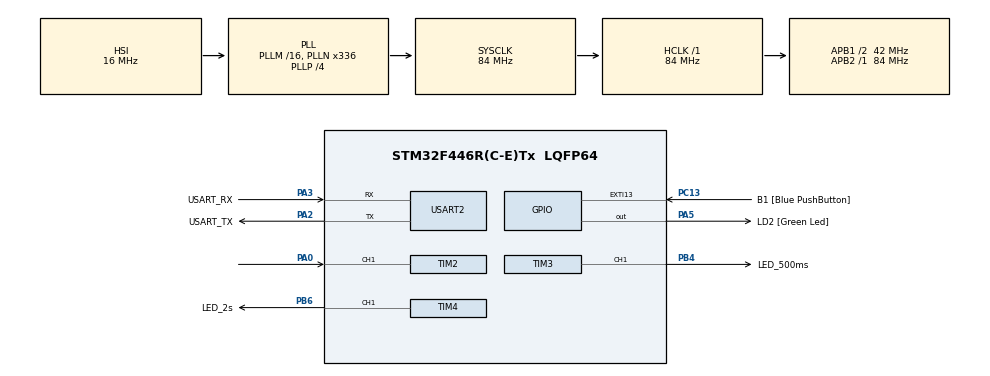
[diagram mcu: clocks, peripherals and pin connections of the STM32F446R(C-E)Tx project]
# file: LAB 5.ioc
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Mcu.Family=STM32F4
Mcu.Name=STM32F446R(C-E)Tx
Mcu.Package=LQFP64
NVIC.PriorityGroup=NVIC_PRIORITYGROUP_0
NVIC.TIM2_IRQn=true\:0\:0\:false\:false\:true\:true\:true\:true
PA0-WKUP.Signal=S_TIM2_CH1_ETR
PA13.GPIO_Label=TMS
PA13.Mode=Serial_Wire
PA13.Signal=SYS_JTMS-SWDIO
PA14.GPIO_Label=TCK
PA14.Mode=Serial_Wire
PA14.Signal=SYS_JTCK-SWCLK
PA2.GPIO_Label=USART_TX
PA2.Mode=Asynchronous
PA2.Signal=USART2_TX
PA3.GPIO_Label=USART_RX
PA3.Mode=Asynchronous
PA3.Signal=USART2_RX
PA5.GPIO_Label=LD2 [Green Led]
PA5.Signal=GPIO_Output
PB3.GPIO_Label=SWO
PB3.Signal=SYS_JTDO-SWO
PB4.GPIO_Label=LED_500ms
PB4.Signal=S_TIM3_CH1
PB6.GPIO_Label=LED_2s
PB6.Signal=S_TIM4_CH1
PC13.GPIO_Label=B1 [Blue PushButton]
PC13.GPIO_ModeDefaultEXTI=GPIO_MODE_IT_FALLING
PC13.Signal=GPXTI13
PC14-OSC32_IN.Signal=RCC_OSC32_IN
PC15-OSC32_OUT.Signal=RCC_OSC32_OUT
PH0-OSC_IN.Signal=RCC_OSC_IN
PH1-OSC_OUT.Signal=RCC_OSC_OUT
ProjectManager.HeapSize=0x200
ProjectManager.StackSize=0x400
ProjectManager.TargetToolchain=STM32CubeIDE
RCC.AHBFreq_Value=84000000
RCC.APB1CLKDivider=RCC_HCLK_DIV2
RCC.APB1Freq_Value=42000000
RCC.APB1TimFreq_Value=84000000
RCC.APB2Freq_Value=84000000
RCC.APB2TimFreq_Value=84000000
RCC.CortexFreq_Value=84000000
RCC.FLatency-AdvancedSettings=FLASH_LATENCY_2
RCC.HCLKFreq_Value=84000000
RCC.HSE_VALUE=8000000
RCC.HSI_VALUE=16000000
RCC.LSE_VALUE=32768
RCC.PLLN=336
RCC.PLLP=RCC_PLLP_DIV4
RCC.SYSCLKFreq_VALUE=84000000
RCC.SYSCLKSource=RCC_SYSCLKSOURCE_PLLCLK
RCC.USBFreq_Value=168000000
RCC.VCOOutputFreq_Value=336000000
SH.S_TIM2_CH1_ETR.0=TIM2_CH1,Input_Capture1_from_TI1
SH.S_TIM3_CH1.0=TIM3_CH1,PWM Generation1 CH1
SH.S_TIM4_CH1.0=TIM4_CH1,PWM Generation1 CH1
TIM2.Channel-Input_Capture1_from_TI1=TIM_CHANNEL_1
TIM2.Prescaler=83
TIM3.Channel-PWM\ Generation1\ CH1=TIM_CHANNEL_1
TIM3.Period=4999
TIM3.Prescaler=8399
TIM3.Pulse-PWM\ Generation1\ CH1=2500
TIM4.Channel-PWM\ Generation1\ CH1=TIM_CHANNEL_1
TIM4.Period=19999
TIM4.Prescaler=8399
USART2.VirtualMode=VM_ASYNC
VP_TIM2_VS_ClockSourceINT.Mode=Internal
VP_TIM3_VS_ClockSourceINT.Mode=Internal
VP_TIM4_VS_ClockSourceINT.Mode=Internal
board=NUCLEO-F446RE

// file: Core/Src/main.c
/* USER CODE BEGIN Header */
/**
  ******************************************************************************
  * @file           : main.c
  * @brief          : Main program body
  ******************************************************************************
  * @attention
  *
  * Copyright (c) 2026 STMicroelectronics.
  * All rights reserved.
  *
  * This software is licensed under terms that can be found in the LICENSE file
  * in the root directory of this software component.
  * If no LICENSE file comes with this software, it is provided AS-IS.
  *
  ******************************************************************************
  */
/* USER CODE END Header */

#include "main.h"

/* USER CODE BEGIN Includes */
#include <stdio.h>
/* USER CODE END Includes */

/* USER CODE BEGIN PD */
//Contador de frecuencia
#define Contador_f 1000000UL

//Tiempo para mandar otro dato
#define UART_ms 500UL

//Tiempo para que se reinicie
#define Timeout_ms 1500UL
/* USER CODE END PD */

TIM_HandleTypeDef htim2;
TIM_HandleTypeDef htim3;
TIM_HandleTypeDef htim4;

UART_HandleTypeDef huart2;

/* USER CODE BEGIN PV */
//ant = anterior
volatile uint32_t captura_ant = 0;

volatile uint32_t periodo = 0;

//UF = ultimo flanco
volatile uint32_t tiempo_UF = 0;

//Primera captura
volatile uint8_t captura_uno = 1;

//disp = disponible
volatile uint8_t frecuencia_disp = 0;

//UE = ultimo envio
uint32_t tiempo_UE = 0;

char mensaje_uart[64];
/* USER CODE END PV */

void SystemClock_Config(void);
static void MX_GPIO_Init(void);
static void MX_TIM2_Init(void);
static void MX_USART2_UART_Init(void);
static void MX_TIM3_Init(void);
static void MX_TIM4_Init(void);
void HAL_TIM_MspPostInit(TIM_HandleTypeDef *htim);

/* USER CODE BEGIN PFP */
static void Frecuencia_UART(void);
/* USER CODE END PFP */

int main(void)
{

  /* MCU Configuration--------------------------------------------------------*/

  /* Reset of all peripherals, Initializes the Flash interface and the Systick. */
  HAL_Init();

  /* Configure the system clock */
  SystemClock_Config();

  /* Initialize all configured peripherals */
  MX_GPIO_Init();
  MX_TIM2_Init();
  MX_USART2_UART_Init();
  MX_TIM3_Init();
  MX_TIM4_Init();

  /* USER CODE BEGIN 2 */
  //Captura de frecuencia TIM2
  if (HAL_TIM_IC_Start_IT(&htim2, TIM_CHANNEL_1) != HAL_OK)
  {
    Error_Handler();
  }

  //Señal de 500ms TIM3
  if (HAL_TIM_PWM_Start(&htim3, TIM_CHANNEL_1) != HAL_OK)
  {
    Error_Handler();
  }

  //Señal de 2s TIM4
  if (HAL_TIM_PWM_Start(&htim4, TIM_CHANNEL_1) != HAL_OK)
  {
    Error_Handler();
  }

  //Enviar el mensaje inicial por UART
  HAL_UART_Transmit(&huart2,
                    (uint8_t *)"Iniciado\r\n",
                    sizeof("Iniciado\r\n") - 1U,
                    HAL_MAX_DELAY);
  /* USER CODE END 2 */

  /* Infinite loop */
  while (1)
  {

    /* USER CODE BEGIN 3 */
    //Mandar la frecuencia medida cada 500 milisegundos
    if ((HAL_GetTick() - tiempo_UE) >= UART_ms)
    {
      tiempo_UE = HAL_GetTick();
      Frecuencia_UART();
    }
  }
  /* USER CODE END 3 */
}

void SystemClock_Config(void)
{
  RCC_OscInitTypeDef RCC_OscInitStruct = {0};
  RCC_ClkInitTypeDef RCC_ClkInitStruct = {0};

  /** Configure the main internal regulator output voltage
  */
  __HAL_RCC_PWR_CLK_ENABLE();
  __HAL_PWR_VOLTAGESCALING_CONFIG(PWR_REGULATOR_VOLTAGE_SCALE3);

  /** Initializes the RCC Oscillators according to the specified parameters
  * in the RCC_OscInitTypeDef structure.
  */
  RCC_OscInitStruct.OscillatorType = RCC_OSCILLATORTYPE_HSI;
  RCC_OscInitStruct.HSIState = RCC_HSI_ON;
  RCC_OscInitStruct.HSICalibrationValue = RCC_HSICALIBRATION_DEFAULT;
  RCC_OscInitStruct.PLL.PLLState = RCC_PLL_ON;
  RCC_OscInitStruct.PLL.PLLSource = RCC_PLLSOURCE_HSI;
  RCC_OscInitStruct.PLL.PLLM = 16;
  RCC_OscInitStruct.PLL.PLLN = 336;
  RCC_OscInitStruct.PLL.PLLP = RCC_PLLP_DIV4;
  RCC_OscInitStruct.PLL.PLLQ = 2;
  RCC_OscInitStruct.PLL.PLLR = 2;

  if (HAL_RCC_OscConfig(&RCC_OscInitStruct) != HAL_OK)
  {
    Error_Handler();
  }

  /** Initializes the CPU, AHB and APB buses clocks
  */
  RCC_ClkInitStruct.ClockType = RCC_CLOCKTYPE_HCLK |
                                RCC_CLOCKTYPE_SYSCLK |
                                RCC_CLOCKTYPE_PCLK1 |
                                RCC_CLOCKTYPE_PCLK2;
  RCC_ClkInitStruct.SYSCLKSource = RCC_SYSCLKSOURCE_PLLCLK;
  RCC_ClkInitStruct.AHBCLKDivider = RCC_SYSCLK_DIV1;
  RCC_ClkInitStruct.APB1CLKDivider = RCC_HCLK_DIV2;
  RCC_ClkInitStruct.APB2CLKDivider = RCC_HCLK_DIV1;

  if (HAL_RCC_ClockConfig(&RCC_ClkInitStruct, FLASH_LATENCY_2) != HAL_OK)
  {
    Error_Handler();
  }
}

static void MX_TIM2_Init(void)
{

  TIM_ClockConfigTypeDef sClockSourceConfig = {0};
  TIM_MasterConfigTypeDef sMasterConfig = {0};
  TIM_IC_InitTypeDef sConfigIC = {0};

  htim2.Instance = TIM2;
  htim2.Init.Prescaler = 83;
  htim2.Init.CounterMode = TIM_COUNTERMODE_UP;
  htim2.Init.Period = 4294967295;
  htim2.Init.ClockDivision = TIM_CLOCKDIVISION_DIV1;
  htim2.Init.AutoReloadPreload = TIM_AUTORELOAD_PRELOAD_DISABLE;

  if (HAL_TIM_Base_Init(&htim2) != HAL_OK)
  {
    Error_Handler();
  }

  sClockSourceConfig.ClockSource = TIM_CLOCKSOURCE_INTERNAL;

  if (HAL_TIM_ConfigClockSource(&htim2, &sClockSourceConfig) != HAL_OK)
  {
    Error_Handler();
  }

  if (HAL_TIM_IC_Init(&htim2) != HAL_OK)
  {
    Error_Handler();
  }

  sMasterConfig.MasterOutputTrigger = TIM_TRGO_RESET;
  sMasterConfig.MasterSlaveMode = TIM_MASTERSLAVEMODE_DISABLE;

  if (HAL_TIMEx_MasterConfigSynchronization(&htim2, &sMasterConfig) != HAL_OK)
  {
    Error_Handler();
  }

  sConfigIC.ICPolarity = TIM_INPUTCHANNELPOLARITY_RISING;
  sConfigIC.ICSelection = TIM_ICSELECTION_DIRECTTI;
  sConfigIC.ICPrescaler = TIM_ICPSC_DIV1;
  sConfigIC.ICFilter = 0;

  if (HAL_TIM_IC_ConfigChannel(&htim2, &sConfigIC, TIM_CHANNEL_1) != HAL_OK)
  {
    Error_Handler();
  }

}

static void MX_TIM3_Init(void)
{

  TIM_ClockConfigTypeDef sClockSourceConfig = {0};
  TIM_MasterConfigTypeDef sMasterConfig = {0};
  TIM_OC_InitTypeDef sConfigOC = {0};

  htim3.Instance = TIM3;
  htim3.Init.Prescaler = 8399;
  htim3.Init.CounterMode = TIM_COUNTERMODE_UP;
  htim3.Init.Period = 4999;
  htim3.Init.ClockDivision = TIM_CLOCKDIVISION_DIV1;
  htim3.Init.AutoReloadPreload = TIM_AUTORELOAD_PRELOAD_DISABLE;

  if (HAL_TIM_Base_Init(&htim3) != HAL_OK)
  {
    Error_Handler();
  }

  sClockSourceConfig.ClockSource = TIM_CLOCKSOURCE_INTERNAL;

  if (HAL_TIM_ConfigClockSource(&htim3, &sClockSourceConfig) != HAL_OK)
  {
    Error_Handler();
  }

  if (HAL_TIM_PWM_Init(&htim3) != HAL_OK)
  {
    Error_Handler();
  }

  sMasterConfig.MasterOutputTrigger = TIM_TRGO_RESET;
  sMasterConfig.MasterSlaveMode = TIM_MASTERSLAVEMODE_DISABLE;

  if (HAL_TIMEx_MasterConfigSynchronization(&htim3, &sMasterConfig) != HAL_OK)
  {
    Error_Handler();
  }

  sConfigOC.OCMode = TIM_OCMODE_PWM1;
  sConfigOC.Pulse = 2500;
  sConfigOC.OCPolarity = TIM_OCPOLARITY_HIGH;
  sConfigOC.OCFastMode = TIM_OCFAST_DISABLE;

  if (HAL_TIM_PWM_ConfigChannel(&htim3, &sConfigOC, TIM_CHANNEL_1) != HAL_OK)
  {
    Error_Handler();
  }

  HAL_TIM_MspPostInit(&htim3);
}

static void MX_TIM4_Init(void)
{

  TIM_ClockConfigTypeDef sClockSourceConfig = {0};
  TIM_MasterConfigTypeDef sMasterConfig = {0};
  TIM_OC_InitTypeDef sConfigOC = {0};

  htim4.Instance = TIM4;
  htim4.Init.Prescaler = 8399;
  htim4.Init.CounterMode = TIM_COUNTERMODE_UP;
  htim4.Init.Period = 19999;
  htim4.Init.ClockDivision = TIM_CLOCKDIVISION_DIV1;
  htim4.Init.AutoReloadPreload = TIM_AUTORELOAD_PRELOAD_DISABLE;

  if (HAL_TIM_Base_Init(&htim4) != HAL_OK)
  {
    Error_Handler();
  }

  sClockSourceConfig.ClockSource = TIM_CLOCKSOURCE_INTERNAL;

  if (HAL_TIM_ConfigClockSource(&htim4, &sClockSourceConfig) != HAL_OK)
  {
    Error_Handler();
  }

  if (HAL_TIM_PWM_Init(&htim4) != HAL_OK)
  {
    Error_Handler();
  }

  sMasterConfig.MasterOutputTrigger = TIM_TRGO_RESET;
  sMasterConfig.MasterSlaveMode = TIM_MASTERSLAVEMODE_DISABLE;

  if (HAL_TIMEx_MasterConfigSynchronization(&htim4, &sMasterConfig) != HAL_OK)
  {
    Error_Handler();
  }

  sConfigOC.OCMode = TIM_OCMODE_PWM1;
  sConfigOC.Pulse = 10000;
  sConfigOC.OCPolarity = TIM_OCPOLARITY_HIGH;
  sConfigOC.OCFastMode = TIM_OCFAST_DISABLE;

  if (HAL_TIM_PWM_ConfigChannel(&htim4, &sConfigOC, TIM_CHANNEL_1) != HAL_OK)
  {
    Error_Handler();
  }

  HAL_TIM_MspPostInit(&htim4);
}

static void MX_USART2_UART_Init(void)
{

  huart2.Instance = USART2;
  huart2.Init.BaudRate = 115200;
  huart2.Init.WordLength = UART_WORDLENGTH_8B;
  huart2.Init.StopBits = UART_STOPBITS_1;
  huart2.Init.Parity = UART_PARITY_NONE;
  huart2.Init.Mode = UART_MODE_TX_RX;
  huart2.Init.HwFlowCtl = UART_HWCONTROL_NONE;
  huart2.Init.OverSampling = UART_OVERSAMPLING_16;

  if (HAL_UART_Init(&huart2) != HAL_OK)
  {
    Error_Handler();
  }

}

static void MX_GPIO_Init(void)
{
  GPIO_InitTypeDef GPIO_InitStruct = {0};

  /* GPIO Ports Clock Enable */
  __HAL_RCC_GPIOC_CLK_ENABLE();
  __HAL_RCC_GPIOH_CLK_ENABLE();
  __HAL_RCC_GPIOA_CLK_ENABLE();
  __HAL_RCC_GPIOB_CLK_ENABLE();

  /*Configure GPIO pin Output Level */
  HAL_GPIO_WritePin(LD2_GPIO_Port, LD2_Pin, GPIO_PIN_RESET);

  /*Configure GPIO pin : B1_Pin */
  GPIO_InitStruct.Pin = B1_Pin;
  GPIO_InitStruct.Mode = GPIO_MODE_IT_FALLING;
  GPIO_InitStruct.Pull = GPIO_NOPULL;
  HAL_GPIO_Init(B1_GPIO_Port, &GPIO_InitStruct);

  /*Configure GPIO pin : LD2_Pin */
  GPIO_InitStruct.Pin = LD2_Pin;
  GPIO_InitStruct.Mode = GPIO_MODE_OUTPUT_PP;
  GPIO_InitStruct.Pull = GPIO_NOPULL;
  GPIO_InitStruct.Speed = GPIO_SPEED_FREQ_LOW;
  HAL_GPIO_Init(LD2_GPIO_Port, &GPIO_InitStruct);

}

/* USER CODE BEGIN 4 */
void HAL_TIM_IC_CaptureCallback(TIM_HandleTypeDef *htim)
{
  uint32_t captura_actual;
  uint32_t tiempo_actual;

  //Ver que la interrupción sea canal 1 TIM2
  if ((htim->Instance == TIM2) &&
      (htim->Channel == HAL_TIM_ACTIVE_CHANNEL_1))
  {
    captura_actual = HAL_TIM_ReadCapturedValue(htim, TIM_CHANNEL_1);
    tiempo_actual = HAL_GetTick();

    //Reiniciar si se pierde la señal
    if ((captura_uno != 0U) ||
        ((tiempo_actual - tiempo_UF) > Timeout_ms))
    {
      captura_ant = captura_actual;
      captura_uno = 0U;
      frecuencia_disp = 0U;
    }
    else
    {
      //Calcular el periodo
      periodo = captura_actual - captura_ant;
      captura_ant = captura_actual;

      //Ver que periodo no sea igual a 0
      if (periodo != 0U)
      {
        frecuencia_disp = 1U;
      }
    }

    tiempo_UF = tiempo_actual;
  }
}

static void Frecuencia_UART(void)
{
  uint32_t periodo_local;
  uint32_t tiempo_flanco_local;
  uint8_t frecuencia_valida_local;
  uint64_t frecuencia_centesimas;
  int longitud;

  //Copiar los valores despues de la interrupción
  periodo_local = periodo;
  tiempo_flanco_local = tiempo_UF;
  frecuencia_valida_local = frecuencia_disp;

  //Ver que haya alguna medición reciente
  if ((frecuencia_valida_local != 0U) &&
      (periodo_local != 0U) &&
      ((HAL_GetTick() - tiempo_flanco_local) <= Timeout_ms))
  {
    //Calcular la frecuencia
    frecuencia_centesimas =
        (((uint64_t)Contador_f * 100ULL) +
         ((uint64_t)periodo_local / 2ULL)) /
        (uint64_t)periodo_local;

    longitud = snprintf(
        mensaje_uart,
        sizeof(mensaje_uart),
        "Frecuencia: %lu.%02lu Hz\r\n",
        (unsigned long)(frecuencia_centesimas / 100ULL),
        (unsigned long)(frecuencia_centesimas % 100ULL));
  }
  else
  {
    longitud = snprintf(
        mensaje_uart,
        sizeof(mensaje_uart),
        "Frecuencia: sin senal\r\n");
  }

  //Ver que el mensaje si funcione
  if (longitud > 0)
  {
    //Limitar longitud del mensaje
    if ((uint32_t)longitud >= sizeof(mensaje_uart))
    {
      longitud = (int)(sizeof(mensaje_uart) - 1U);
    }

    //Mandar mensaje con USART2
    HAL_UART_Transmit(&huart2,
                      (uint8_t *)mensaje_uart,
                      (uint16_t)longitud,
                      100);
  }
}
/* USER CODE END 4 */

void Error_Handler(void)
{
  __disable_irq();
  while (1)
  {
  }
}
